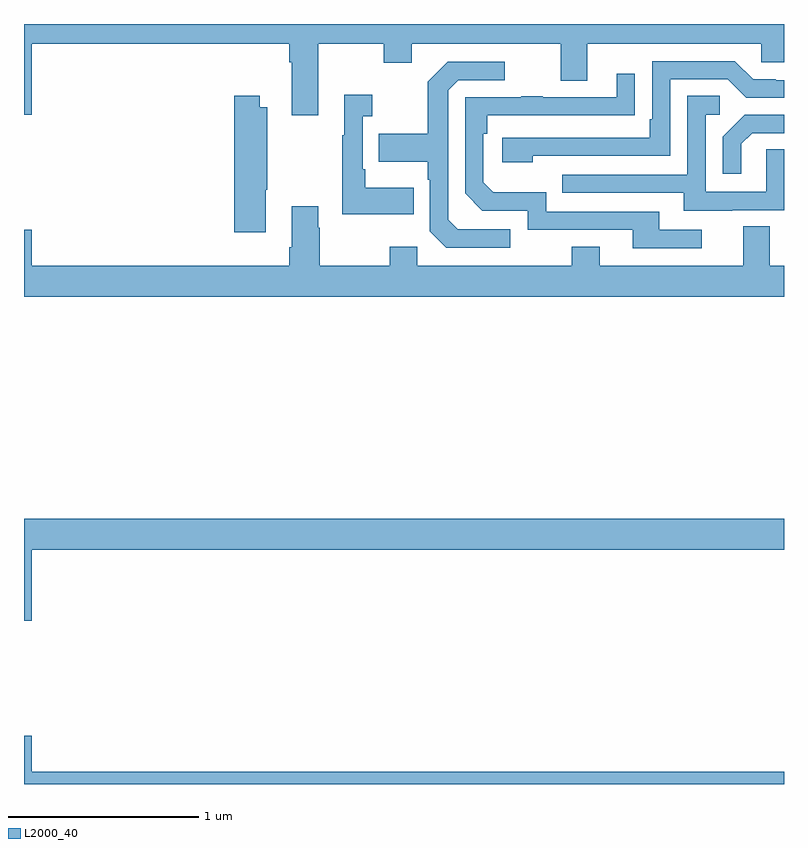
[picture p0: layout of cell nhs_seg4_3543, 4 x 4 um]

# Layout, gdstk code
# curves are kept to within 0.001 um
import gdstk
lib = gdstk.Library(unit=1e-6, precision=1e-09)
def P(c, l, *ps):  # polygons
    for p in ps: c.add(gdstk.Polygon(p, *l))
L2000_40 = (2000, 40)

nhs_seg4_3543 = lib.new_cell('nhs_seg4_3543')
P(nhs_seg4_3543, L2000_40, [(297,820.422),(297.04,820.422),(297.04,820.796),(298.397,820.796),(298.397,820.7),(298.409,820.7),(298.409,820.419),(298.549,820.419),(298.549,820.796),(298.894,820.796),(298.894,820.697),(299.041,820.697),(299.041,820.796),(299.825,820.796),(299.825,820.602),(299.965,820.602),(299.965,820.796),(300.879,820.796),(300.879,820.698),(301,820.698),(301,820.9),(297,820.9)],
  [(299.678,820.206),(300.402,820.206),(300.402,820.608),(300.705,820.608),(300.801,820.512),(301,820.512),(301,820.605),(300.956,820.605),(300.956,820.608),(300.837,820.608),(300.741,820.704),(300.306,820.704),(300.306,820.399),(300.293,820.399),(300.293,820.302),(299.517,820.302),(299.517,820.172),(299.678,820.172)],
  [(299.56,819.819),(299.283,819.819),(299.232,819.87),(299.232,820.551),(299.286,820.605),(299.53,820.605),(299.53,820.701),(299.229,820.701),(299.124,820.595),(299.124,820.323),(298.867,820.323),(298.867,820.175),(299.124,820.175),(299.124,820.079),(299.136,820.079),(299.136,819.81),(299.223,819.723),(299.56,819.723)],
  [(300.568,819.816),(300.343,819.816),(300.343,819.912),(299.748,819.912),(299.748,820.015),(299.471,820.015),(299.418,820.068),(299.418,820.322),(299.438,820.322),(299.438,820.419),(300.215,820.42),(300.215,820.639),(300.119,820.639),(300.119,820.515),(299.729,820.515),(299.729,820.52),(299.617,820.52),(299.617,820.515),(299.322,820.515),(299.322,820.008),(299.412,819.918),(299.652,819.918),(299.652,819.816),(300.203,819.816),(300.203,819.72),(300.568,819.72)],
  [(299.051,820.039),(298.795,820.039),(298.795,820.135),(298.782,820.135),(298.782,820.415),(298.834,820.415),(298.834,820.528),(298.685,820.528),(298.685,820.315),(298.674,820.315),(298.674,819.899),(299.051,819.899)],
  [(300.727,819.921),(301,819.921),(301,820.241),(300.906,820.241),(300.906,820.017),(300.588,820.017),(300.588,820.422),(300.661,820.422),(300.661,820.523),(300.492,820.523),(300.492,820.107),(299.833,820.107),(299.833,820.011),(300.473,820.011),(300.473,819.917),(300.727,819.917)],
  [(298.273,820.027),(298.281,820.027),(298.281,820.462),(298.24,820.462),(298.24,820.522),(298.106,820.522),(298.106,819.804),(298.273,819.804)],
  [(300.775,820.269),(300.832,820.326),(301,820.326),(301,820.422),(300.794,820.422),(300.678,820.306),(300.678,820.113),(300.775,820.113)],
  [(301,819.628),(300.925,819.628),(300.925,819.836),(300.785,819.836),(300.785,819.628),(300.031,819.628),(300.031,819.727),(299.884,819.727),(299.884,819.628),(299.07,819.628),(299.07,819.727),(298.924,819.727),(298.924,819.628),(298.557,819.628),(298.557,819.827),(298.549,819.827),(298.549,819.94),(298.409,819.94),(298.409,819.724),(298.397,819.724),(298.397,819.628),(297.04,819.628),(297.04,819.817),(297,819.817),(297,819.464),(301,819.464)],
  [(297.04,818.132),(301,818.132),(301,818.296),(297,818.296),(297,817.758),(297.04,817.758)],
  [(301,816.964),(297.04,816.964),(297.04,817.153),(297,817.153),(297,816.9),(301,816.9)])

lib.write_gds('nhs_seg4_3543.gds')
